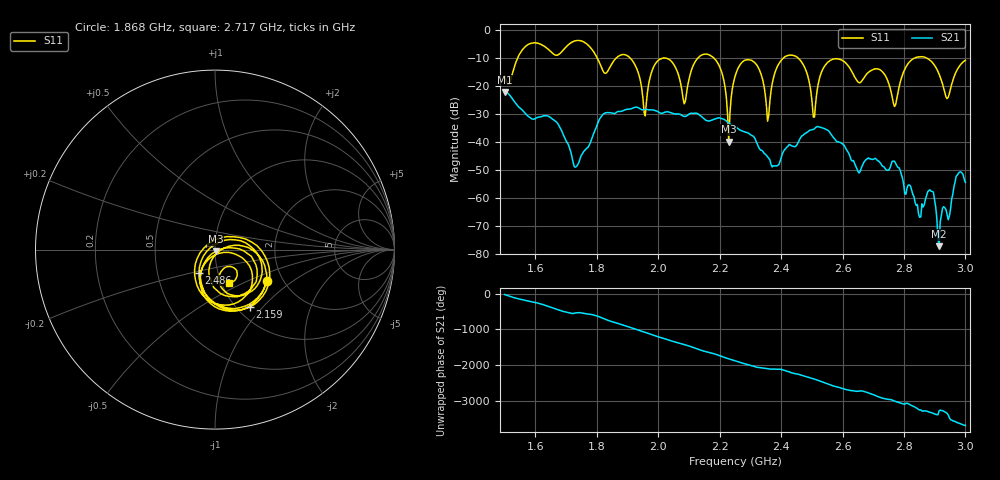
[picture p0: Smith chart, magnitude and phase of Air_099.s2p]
# HZ S RI R 50
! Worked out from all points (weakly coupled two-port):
!   404 points, 1.5 GHz to 3 GHz, reference 50 ohm
!   highest |S21| = -22.05 dB at 1.5 GHz (marker M1); lowest = -77.4 dB at 2.914 GHz (marker M2)
!   lowest |S11| = -39.8 dB at 2.23 GHz (marker M3), VSWR 1.02, Z = 50.5 - j0.909 ohm
!   |S11| at or under -10 dB: 2.182 GHz to 2.407 GHz (225 MHz wide, 9.81 % of centre); 2.456 GHz to 2.833 GHz (377.2 MHz wide, 14.3 % of centre); 2.875 GHz to end of sweep (the widest 3 of 7)
!   S12 and S22 are empty: the file has one direction only
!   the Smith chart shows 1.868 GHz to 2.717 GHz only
!   S11 on the Smith chart (normalised r, x): 1.868 GHz: 1.65, -0.65; 2.159 GHz: 1.14, -0.85; 2.486 GHz: 0.81, -0.21; 2.717 GHz: 1.09, -0.42
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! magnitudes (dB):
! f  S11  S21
! 1.5 GHz  -16.3  -22.1
! 1.753 GHz  -3.9  -44.3
! 1.868 GHz  -9.4  -29.1
! 1.958 GHz  -30.7  -28.3
! 2.002 GHz  -10.5  -29.4
! 2.084 GHz  -26.3  -30.8
! 2.159 GHz  -8.5  -32.4
! 2.23 GHz  -39.8  -33.2
! 2.252 GHz  -15.9  -34.6
! 2.315 GHz  -11.7  -38.8
! 2.356 GHz  -32.6  -45.3
! 2.378 GHz  -15.7  -48.6
! 2.486 GHz  -16.1  -36.4
! 2.501 GHz  -26.1  -35.6
! 2.565 GHz  -10.5  -37.5
! 2.717 GHz  -13.9  -46.8
! 2.751 GHz  -19.1  -50.0
! 2.847 GHz  -9.5  -65.7
! 2.888 GHz  -11.1  -57.6
! 2.914 GHz  -15.7  -77.4
! 2.94 GHz  -24.5  -66.0
! 3 GHz  -10.7  -54.5
